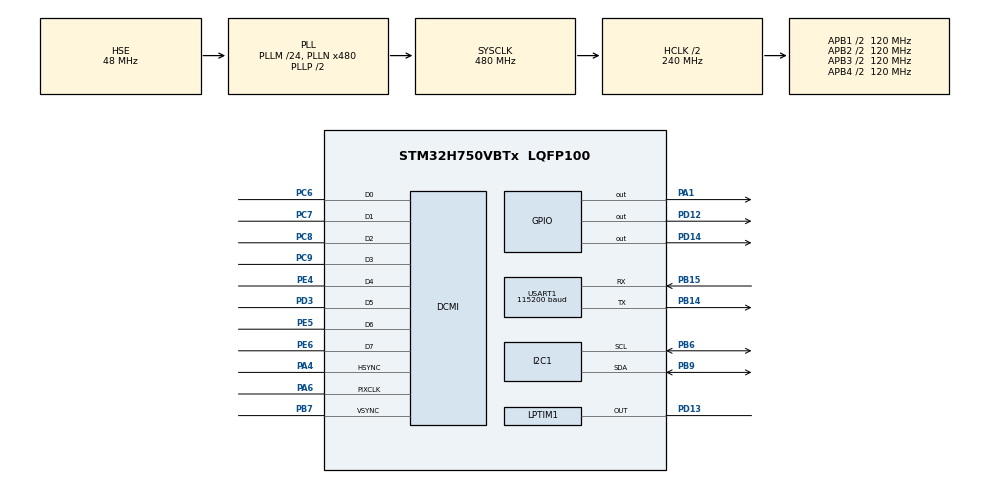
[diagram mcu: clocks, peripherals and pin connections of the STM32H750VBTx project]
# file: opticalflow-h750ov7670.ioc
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CORTEX_M7.default_mode_Activation=1
DCMI.PCKPolarity=DCMI_PCKPOLARITY_RISING
DCMI.VSPolarity=DCMI_VSPOLARITY_HIGH
Dma.DCMI.0.Direction=DMA_PERIPH_TO_MEMORY
Dma.DCMI.0.EventEnable=DISABLE
Dma.DCMI.0.FIFOMode=DMA_FIFOMODE_DISABLE
Dma.DCMI.0.Instance=DMA1_Stream0
Dma.DCMI.0.MemDataAlignment=DMA_MDATAALIGN_WORD
Dma.DCMI.0.MemInc=DMA_MINC_ENABLE
Dma.DCMI.0.Mode=DMA_NORMAL
Dma.DCMI.0.PeriphDataAlignment=DMA_PDATAALIGN_WORD
Dma.DCMI.0.PeriphInc=DMA_PINC_DISABLE
Dma.DCMI.0.Polarity=HAL_DMAMUX_REQ_GEN_RISING
Dma.DCMI.0.Priority=DMA_PRIORITY_LOW
Dma.DCMI.0.RequestNumber=1
Dma.DCMI.0.SignalID=NONE
Dma.DCMI.0.SyncEnable=DISABLE
Dma.DCMI.0.SyncPolarity=HAL_DMAMUX_SYNC_NO_EVENT
Dma.DCMI.0.SyncRequestNumber=1
Dma.DCMI.0.SyncSignalID=NONE
Dma.Request0=DCMI
I2C1.Timing=0x00000E14
Mcu.Family=STM32H7
Mcu.Name=STM32H750VBTx
Mcu.Package=LQFP100
NVIC.DCMI_IRQn=true\:0\:0\:false\:false\:true\:true\:true\:true
NVIC.DMA1_Stream0_IRQn=true\:0\:0\:false\:false\:true\:false\:true\:true
NVIC.PriorityGroup=NVIC_PRIORITYGROUP_4
NVIC.TIM6_DAC_IRQn=true\:1\:0\:true\:false\:true\:true\:true\:true
NVIC.TIM7_IRQn=true\:1\:0\:true\:false\:true\:true\:true\:true
NVIC.USART1_IRQn=true\:0\:0\:false\:false\:true\:true\:true\:true
PA1.Signal=GPIO_Output
PA4.GPIO_PuPd=GPIO_PULLDOWN
PA4.GPIO_Speed=GPIO_SPEED_FREQ_VERY_HIGH
PA4.Mode=Slave_8_bits_External_Synchro
PA4.Signal=DCMI_HSYNC
PA6.GPIO_PuPd=GPIO_PULLDOWN
PA6.GPIO_Speed=GPIO_SPEED_FREQ_VERY_HIGH
PA6.Mode=Slave_8_bits_External_Synchro
PA6.Signal=DCMI_PIXCLK
PB14.GPIO_Speed=GPIO_SPEED_FREQ_VERY_HIGH
PB14.Mode=Asynchronous
PB14.Signal=USART1_TX
PB15.GPIO_Speed=GPIO_SPEED_FREQ_VERY_HIGH
PB15.Mode=Asynchronous
PB15.Signal=USART1_RX
PB6.GPIO_Pu=GPIO_PULLUP
PB6.GPIO_Speed=GPIO_SPEED_FREQ_VERY_HIGH
PB6.Mode=I2C
PB6.Signal=I2C1_SCL
PB7.GPIO_PuPd=GPIO_PULLDOWN
PB7.GPIO_Speed=GPIO_SPEED_FREQ_VERY_HIGH
PB7.Mode=Slave_8_bits_External_Synchro
PB7.Signal=DCMI_VSYNC
PB9.GPIO_Pu=GPIO_PULLUP
PB9.GPIO_Speed=GPIO_SPEED_FREQ_VERY_HIGH
PB9.Mode=I2C
PB9.Signal=I2C1_SDA
PC6.GPIO_PuPd=GPIO_PULLDOWN
PC6.GPIO_Speed=GPIO_SPEED_FREQ_VERY_HIGH
PC6.Mode=Slave_8_bits_External_Synchro
PC6.Signal=DCMI_D0
PC7.GPIO_PuPd=GPIO_PULLDOWN
PC7.GPIO_Speed=GPIO_SPEED_FREQ_VERY_HIGH
PC7.Mode=Slave_8_bits_External_Synchro
PC7.Signal=DCMI_D1
PC8.GPIO_PuPd=GPIO_PULLDOWN
PC8.GPIO_Speed=GPIO_SPEED_FREQ_VERY_HIGH
PC8.Mode=Slave_8_bits_External_Synchro
PC8.Signal=DCMI_D2
PC9.GPIO_PuPd=GPIO_PULLDOWN
PC9.GPIO_Speed=GPIO_SPEED_FREQ_VERY_HIGH
PC9.Mode=Slave_8_bits_External_Synchro
PC9.Signal=DCMI_D3
PD12.Signal=GPIO_Output
PD13.GPIO_Speed=GPIO_SPEED_FREQ_VERY_HIGH
PD13.Mode=WaveformGeneration
PD13.Signal=LPTIM1_OUT
PD14.Signal=GPIO_Output
PD3.GPIO_PuPd=GPIO_PULLDOWN
PD3.GPIO_Speed=GPIO_SPEED_FREQ_VERY_HIGH
PD3.Mode=Slave_8_bits_External_Synchro
PD3.Signal=DCMI_D5
PE4.GPIO_PuPd=GPIO_PULLDOWN
PE4.GPIO_Speed=GPIO_SPEED_FREQ_VERY_HIGH
PE4.Mode=Slave_8_bits_External_Synchro
PE4.Signal=DCMI_D4
PE5.GPIO_PuPd=GPIO_PULLDOWN
PE5.GPIO_Speed=GPIO_SPEED_FREQ_VERY_HIGH
PE5.Mode=Slave_8_bits_External_Synchro
PE5.Signal=DCMI_D6
PE6.GPIO_PuPd=GPIO_PULLDOWN
PE6.GPIO_Speed=GPIO_SPEED_FREQ_VERY_HIGH
PE6.Mode=Slave_8_bits_External_Synchro
PE6.Signal=DCMI_D7
PH0-OSC_IN\ (PH0).Mode=HSE-External-Oscillator
PH0-OSC_IN\ (PH0).Signal=RCC_OSC_IN
PH1-OSC_OUT\ (PH1).Mode=HSE-External-Oscillator
PH1-OSC_OUT\ (PH1).Signal=RCC_OSC_OUT
ProjectManager.HeapSize=0x200
ProjectManager.StackSize=0x400
ProjectManager.TargetToolchain=STM32CubeIDE
RCC.ADCFreq_Value=50000000
RCC.APB1Freq_Value=120000000
RCC.APB2Freq_Value=120000000
RCC.APB3Freq_Value=120000000
RCC.APB4Freq_Value=120000000
RCC.CortexFreq_Value=480000000
RCC.D1PPRE=RCC_APB3_DIV2
RCC.D2PPRE1=RCC_APB1_DIV2
RCC.D2PPRE2=RCC_APB2_DIV2
RCC.D3PPRE=RCC_APB4_DIV2
RCC.DIVM1=24
RCC.DIVM2=48
RCC.DIVM3=48
RCC.DIVN1=480
RCC.DIVN2=200
RCC.DIVN3=4
RCC.DIVP2=4
RCC.DIVQ2=4
RCC.HCLKFreq_Value=240000000
RCC.HPRE=RCC_HCLK_DIV2
RCC.HSE_VALUE=48000000
RCC.I2C123CLockSelection=RCC_I2C123CLKSOURCE_CSI
RCC.LPTIM1CLockSelection=RCC_LPTIM1CLKSOURCE_PLL2
RCC.PLL2FRACN=0
RCC.PLL3FRACN=0
RCC.PLLFRACN=0
RCC.PLLSourceVirtual=RCC_PLLSOURCE_HSE
RCC.SYSCLKFreq_VALUE=480000000
RCC.SYSCLKSource=RCC_SYSCLKSOURCE_PLLCLK
RCC.USART16CLockSelection=RCC_USART16CLKSOURCE_CSI
RCC.USBFreq_Value=480000000
TIM6.Period=10000
TIM6.Prescaler=24000
TIM7.Period=2000
TIM7.Prescaler=24000
USART1.BaudRate=115200
USART1.VirtualMode-Asynchronous=VM_ASYNC
VP_LPTIM1_VS_LPTIM_counterModeInternalClock.Mode=Counts__internal_clock_event_00
VP_TIM6_VS_ClockSourceINT.Mode=Enable_Timer
VP_TIM7_VS_ClockSourceINT.Mode=Enable_Timer
board=custom

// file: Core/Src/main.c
/* USER CODE BEGIN Header */
/**
  ******************************************************************************
  * @file           : main.c
  * @brief          : Main program body
  ******************************************************************************
  * @attention
  *
  * Copyright (c) 2022 STMicroelectronics.
  * All rights reserved.
  *
  * This software is licensed under terms that can be found in the LICENSE file
  * in the root directory of this software component.
  * If no LICENSE file comes with this software, it is provided AS-IS.
  *
  ******************************************************************************
  */
/* USER CODE END Header */
#include "main.h"

/* USER CODE BEGIN Includes */

#include "OV7670.h"
#include "Coarse2FineFlowWrapper.h"

/* USER CODE END Includes */

DCMI_HandleTypeDef hdcmi;
DMA_HandleTypeDef hdma_dcmi;

I2C_HandleTypeDef hi2c1;

LPTIM_HandleTypeDef hlptim1;

TIM_HandleTypeDef htim6;
TIM_HandleTypeDef htim7;

UART_HandleTypeDef huart1;

void SystemClock_Config(void);
static void MPU_Config(void);
static void MX_GPIO_Init(void);
static void MX_DMA_Init(void);
static void MX_DCMI_Init(void);
static void MX_I2C1_Init(void);
static void MX_TIM6_Init(void);
static void MX_USART1_UART_Init(void);
static void MX_LPTIM1_Init(void);
static void MX_TIM7_Init(void);

/* USER CODE BEGIN 0 */

static void flash(uint8_t count) {
  for (int i = 0; i < count; i++) {
    HAL_GPIO_TogglePin(GPIOA, GPIO_PIN_1);
    HAL_Delay(50);
    HAL_GPIO_TogglePin(GPIOA, GPIO_PIN_1);
    HAL_Delay(50);
  }

  HAL_Delay(100);
}

Camera_settings OV7670_settings = {
    QQQVGA,     //Resolution
    YUV422,   //Format
    BW,   //Effect
    ON,     //AEC
    ON,     //AGC
    ON,     //AWB
    OFF,    //Color bar
    OFF,    //vertical flip
    OFF,    //Horizontal flip
    OFF,    //Night mode
    OFF,    //ASC
    ON,     //De-noise
    ON,     //Banding filter
    HISTOGRAM,  //AEC algorithm
    QUARTER_FPS,//Min. fps in night mode
    F_AUTO,   //Auto detect banding freq.
    256,    //Exposure - 2 bytes
    4,      //Gain  [0-7]=[1-128]
    160,    //Brightness - byte
    64,     //Contrast - byte
    80,     //Saturation - byte
    2,      //Sharpness - [0-31]
    0,      //De-noise strength - byte
    x16,    //Gain ceiling
    77,     //R channel gain - byte
    103,    //G channel gain - byte
    153     //B channel gain - byte
};
uint32_t g_image_data[144*352]; // Max resolution is CIF

#define CROP_HEIGHT 12
#define CROP_WIDTH 12
double g_crop_img0[CROP_HEIGHT*CROP_WIDTH];
double g_crop_img1[CROP_HEIGHT*CROP_WIDTH];
double g_vy[CROP_HEIGHT*CROP_WIDTH];
double g_vx[CROP_HEIGHT*CROP_WIDTH];
double g_warpI2[CROP_HEIGHT*CROP_WIDTH];
#include "Coarse2FineFlowWrapper.h"

/* USER CODE END 0 */

int main(void)
{

  /* MPU Configuration--------------------------------------------------------*/
  MPU_Config();

  /* MCU Configuration--------------------------------------------------------*/

  /* Reset of all peripherals, Initializes the Flash interface and the Systick. */
  HAL_Init();

  /* Configure the system clock */
  SystemClock_Config();

  /* Initialize all configured peripherals */
  MX_GPIO_Init();
  MX_DMA_Init();
  MX_DCMI_Init();
  MX_I2C1_Init();
  MX_TIM6_Init();
  MX_USART1_UART_Init();
  MX_LPTIM1_Init();
  MX_TIM7_Init();
  /* USER CODE BEGIN 2 */

//  static double g_img0[144];
//  static double g_img1[144];
//  static double g_v1[144];
//  static double g_v2[144];
//  static double g_warpI2[144];
//  Coarse2FineFlowWrapper(g_v1, g_v2, g_warpI2, g_img0, g_img1,
//    0.0012, 1.0, 4, 1, 1, 1, 1, 64, 64, 1);

  flash(5);

  OV7670_Power(DISABLE);
  OV7670_Init(&hdcmi, &hdma_dcmi, &hi2c1, &hlptim1);
  OV7670_PowerUp();
  OV7670_UpdateSettings(OV7670_settings);
  OV7670_SetFrameRate(XCLK_DIV(1), PLL_x4);
  HAL_Delay(10);
  OV7670_Start(CONTINUOUS, g_image_data);
  HAL_Delay(100);

  // 50hz timer
  HAL_TIM_Base_Start_IT(&htim6);

  // 5hz timer
  HAL_TIM_Base_Start_IT(&htim7);

  flash(5);

  /* USER CODE END 2 */

  /* Infinite loop */
  while (1)
  {

  }
}

void SystemClock_Config(void)
{
  RCC_OscInitTypeDef RCC_OscInitStruct = {0};
  RCC_ClkInitTypeDef RCC_ClkInitStruct = {0};

  /** Supply configuration update enable
  */
  HAL_PWREx_ConfigSupply(PWR_LDO_SUPPLY);

  /** Configure the main internal regulator output voltage
  */
  __HAL_PWR_VOLTAGESCALING_CONFIG(PWR_REGULATOR_VOLTAGE_SCALE0);

  while(!__HAL_PWR_GET_FLAG(PWR_FLAG_VOSRDY)) {}

  /** Macro to configure the PLL clock source
  */
  __HAL_RCC_PLL_PLLSOURCE_CONFIG(RCC_PLLSOURCE_HSE);

  /** Initializes the RCC Oscillators according to the specified parameters
  * in the RCC_OscInitTypeDef structure.
  */
  RCC_OscInitStruct.OscillatorType = RCC_OSCILLATORTYPE_CSI|RCC_OSCILLATORTYPE_HSE;
  RCC_OscInitStruct.HSEState = RCC_HSE_ON;
  RCC_OscInitStruct.CSIState = RCC_CSI_ON;
  RCC_OscInitStruct.CSICalibrationValue = RCC_CSICALIBRATION_DEFAULT;
  RCC_OscInitStruct.PLL.PLLState = RCC_PLL_ON;
  RCC_OscInitStruct.PLL.PLLSource = RCC_PLLSOURCE_HSE;
  RCC_OscInitStruct.PLL.PLLM = 24;
  RCC_OscInitStruct.PLL.PLLN = 480;
  RCC_OscInitStruct.PLL.PLLP = 2;
  RCC_OscInitStruct.PLL.PLLQ = 2;
  RCC_OscInitStruct.PLL.PLLR = 2;
  RCC_OscInitStruct.PLL.PLLRGE = RCC_PLL1VCIRANGE_1;
  RCC_OscInitStruct.PLL.PLLVCOSEL = RCC_PLL1VCOWIDE;
  RCC_OscInitStruct.PLL.PLLFRACN = 0;
  if (HAL_RCC_OscConfig(&RCC_OscInitStruct) != HAL_OK)
  {
    Error_Handler();
  }

  /** Initializes the CPU, AHB and APB buses clocks
  */
  RCC_ClkInitStruct.ClockType = RCC_CLOCKTYPE_HCLK|RCC_CLOCKTYPE_SYSCLK
                              |RCC_CLOCKTYPE_PCLK1|RCC_CLOCKTYPE_PCLK2
                              |RCC_CLOCKTYPE_D3PCLK1|RCC_CLOCKTYPE_D1PCLK1;
  RCC_ClkInitStruct.SYSCLKSource = RCC_SYSCLKSOURCE_PLLCLK;
  RCC_ClkInitStruct.SYSCLKDivider = RCC_SYSCLK_DIV1;
  RCC_ClkInitStruct.AHBCLKDivider = RCC_HCLK_DIV2;
  RCC_ClkInitStruct.APB3CLKDivider = RCC_APB3_DIV2;
  RCC_ClkInitStruct.APB1CLKDivider = RCC_APB1_DIV2;
  RCC_ClkInitStruct.APB2CLKDivider = RCC_APB2_DIV2;
  RCC_ClkInitStruct.APB4CLKDivider = RCC_APB4_DIV2;

  if (HAL_RCC_ClockConfig(&RCC_ClkInitStruct, FLASH_LATENCY_4) != HAL_OK)
  {
    Error_Handler();
  }
}

static void MX_DCMI_Init(void)
{

  hdcmi.Instance = DCMI;
  hdcmi.Init.SynchroMode = DCMI_SYNCHRO_HARDWARE;
  hdcmi.Init.PCKPolarity = DCMI_PCKPOLARITY_RISING;
  hdcmi.Init.VSPolarity = DCMI_VSPOLARITY_HIGH;
  hdcmi.Init.HSPolarity = DCMI_HSPOLARITY_LOW;
  hdcmi.Init.CaptureRate = DCMI_CR_ALL_FRAME;
  hdcmi.Init.ExtendedDataMode = DCMI_EXTEND_DATA_8B;
  hdcmi.Init.JPEGMode = DCMI_JPEG_DISABLE;
  hdcmi.Init.ByteSelectMode = DCMI_BSM_ALL;
  hdcmi.Init.ByteSelectStart = DCMI_OEBS_ODD;
  hdcmi.Init.LineSelectMode = DCMI_LSM_ALL;
  hdcmi.Init.LineSelectStart = DCMI_OELS_ODD;
  if (HAL_DCMI_Init(&hdcmi) != HAL_OK)
  {
    Error_Handler();
  }

}

static void MX_I2C1_Init(void)
{

  hi2c1.Instance = I2C1;
  hi2c1.Init.Timing = 0x00000E14;
  hi2c1.Init.OwnAddress1 = 0;
  hi2c1.Init.AddressingMode = I2C_ADDRESSINGMODE_7BIT;
  hi2c1.Init.DualAddressMode = I2C_DUALADDRESS_DISABLE;
  hi2c1.Init.OwnAddress2 = 0;
  hi2c1.Init.OwnAddress2Masks = I2C_OA2_NOMASK;
  hi2c1.Init.GeneralCallMode = I2C_GENERALCALL_DISABLE;
  hi2c1.Init.NoStretchMode = I2C_NOSTRETCH_DISABLE;
  if (HAL_I2C_Init(&hi2c1) != HAL_OK)
  {
    Error_Handler();
  }

  /** Configure Analogue filter
  */
  if (HAL_I2CEx_ConfigAnalogFilter(&hi2c1, I2C_ANALOGFILTER_ENABLE) != HAL_OK)
  {
    Error_Handler();
  }

  /** Configure Digital filter
  */
  if (HAL_I2CEx_ConfigDigitalFilter(&hi2c1, 0) != HAL_OK)
  {
    Error_Handler();
  }

}

static void MX_LPTIM1_Init(void)
{

  hlptim1.Instance = LPTIM1;
  hlptim1.Init.Clock.Source = LPTIM_CLOCKSOURCE_APBCLOCK_LPOSC;
  hlptim1.Init.Clock.Prescaler = LPTIM_PRESCALER_DIV1;
  hlptim1.Init.Trigger.Source = LPTIM_TRIGSOURCE_SOFTWARE;
  hlptim1.Init.OutputPolarity = LPTIM_OUTPUTPOLARITY_HIGH;
  hlptim1.Init.UpdateMode = LPTIM_UPDATE_IMMEDIATE;
  hlptim1.Init.CounterSource = LPTIM_COUNTERSOURCE_INTERNAL;
  hlptim1.Init.Input1Source = LPTIM_INPUT1SOURCE_GPIO;
  hlptim1.Init.Input2Source = LPTIM_INPUT2SOURCE_GPIO;
  if (HAL_LPTIM_Init(&hlptim1) != HAL_OK)
  {
    Error_Handler();
  }

}

static void MX_TIM6_Init(void)
{

  TIM_MasterConfigTypeDef sMasterConfig = {0};

  htim6.Instance = TIM6;
  htim6.Init.Prescaler = 24000;
  htim6.Init.CounterMode = TIM_COUNTERMODE_UP;
  htim6.Init.Period = 10000;
  htim6.Init.AutoReloadPreload = TIM_AUTORELOAD_PRELOAD_DISABLE;
  if (HAL_TIM_Base_Init(&htim6) != HAL_OK)
  {
    Error_Handler();
  }
  sMasterConfig.MasterOutputTrigger = TIM_TRGO_RESET;
  sMasterConfig.MasterSlaveMode = TIM_MASTERSLAVEMODE_DISABLE;
  if (HAL_TIMEx_MasterConfigSynchronization(&htim6, &sMasterConfig) != HAL_OK)
  {
    Error_Handler();
  }

}

static void MX_TIM7_Init(void)
{

  TIM_MasterConfigTypeDef sMasterConfig = {0};

  htim7.Instance = TIM7;
  htim7.Init.Prescaler = 24000;
  htim7.Init.CounterMode = TIM_COUNTERMODE_UP;
  htim7.Init.Period = 2000;
  htim7.Init.AutoReloadPreload = TIM_AUTORELOAD_PRELOAD_DISABLE;
  if (HAL_TIM_Base_Init(&htim7) != HAL_OK)
  {
    Error_Handler();
  }
  sMasterConfig.MasterOutputTrigger = TIM_TRGO_RESET;
  sMasterConfig.MasterSlaveMode = TIM_MASTERSLAVEMODE_DISABLE;
  if (HAL_TIMEx_MasterConfigSynchronization(&htim7, &sMasterConfig) != HAL_OK)
  {
    Error_Handler();
  }

}

static void MX_USART1_UART_Init(void)
{

  huart1.Instance = USART1;
  huart1.Init.BaudRate = 115200;
  huart1.Init.WordLength = UART_WORDLENGTH_8B;
  huart1.Init.StopBits = UART_STOPBITS_1;
  huart1.Init.Parity = UART_PARITY_NONE;
  huart1.Init.Mode = UART_MODE_TX_RX;
  huart1.Init.HwFlowCtl = UART_HWCONTROL_NONE;
  huart1.Init.OverSampling = UART_OVERSAMPLING_16;
  huart1.Init.OneBitSampling = UART_ONE_BIT_SAMPLE_DISABLE;
  huart1.Init.ClockPrescaler = UART_PRESCALER_DIV1;
  huart1.AdvancedInit.AdvFeatureInit = UART_ADVFEATURE_NO_INIT;
  if (HAL_UART_Init(&huart1) != HAL_OK)
  {
    Error_Handler();
  }
  if (HAL_UARTEx_SetTxFifoThreshold(&huart1, UART_TXFIFO_THRESHOLD_1_8) != HAL_OK)
  {
    Error_Handler();
  }
  if (HAL_UARTEx_SetRxFifoThreshold(&huart1, UART_RXFIFO_THRESHOLD_1_8) != HAL_OK)
  {
    Error_Handler();
  }
  if (HAL_UARTEx_DisableFifoMode(&huart1) != HAL_OK)
  {
    Error_Handler();
  }

}

static void MX_DMA_Init(void)
{

  /* DMA controller clock enable */
  __HAL_RCC_DMA1_CLK_ENABLE();

  /* DMA interrupt init */
  /* DMA1_Stream0_IRQn interrupt configuration */
  HAL_NVIC_SetPriority(DMA1_Stream0_IRQn, 0, 0);
  HAL_NVIC_EnableIRQ(DMA1_Stream0_IRQn);

}

static void MX_GPIO_Init(void)
{
  GPIO_InitTypeDef GPIO_InitStruct = {0};

  /* GPIO Ports Clock Enable */
  __HAL_RCC_GPIOE_CLK_ENABLE();
  __HAL_RCC_GPIOH_CLK_ENABLE();
  __HAL_RCC_GPIOA_CLK_ENABLE();
  __HAL_RCC_GPIOB_CLK_ENABLE();
  __HAL_RCC_GPIOD_CLK_ENABLE();
  __HAL_RCC_GPIOC_CLK_ENABLE();

  /*Configure GPIO pin Output Level */
  HAL_GPIO_WritePin(GPIOA, GPIO_PIN_1, GPIO_PIN_RESET);

  /*Configure GPIO pin Output Level */
  HAL_GPIO_WritePin(GPIOD, GPIO_PIN_12|GPIO_PIN_14, GPIO_PIN_RESET);

  /*Configure GPIO pin : PA1 */
  GPIO_InitStruct.Pin = GPIO_PIN_1;
  GPIO_InitStruct.Mode = GPIO_MODE_OUTPUT_PP;
  GPIO_InitStruct.Pull = GPIO_NOPULL;
  GPIO_InitStruct.Speed = GPIO_SPEED_FREQ_LOW;
  HAL_GPIO_Init(GPIOA, &GPIO_InitStruct);

  /*Configure GPIO pins : PD12 PD14 */
  GPIO_InitStruct.Pin = GPIO_PIN_12|GPIO_PIN_14;
  GPIO_InitStruct.Mode = GPIO_MODE_OUTPUT_PP;
  GPIO_InitStruct.Pull = GPIO_NOPULL;
  GPIO_InitStruct.Speed = GPIO_SPEED_FREQ_LOW;
  HAL_GPIO_Init(GPIOD, &GPIO_InitStruct);

}

/* MPU Configuration */

void MPU_Config(void)
{
  MPU_Region_InitTypeDef MPU_InitStruct = {0};

  /* Disables the MPU */
  HAL_MPU_Disable();

  /** Initializes and configures the Region and the memory to be protected
  */
  MPU_InitStruct.Enable = MPU_REGION_ENABLE;
  MPU_InitStruct.Number = MPU_REGION_NUMBER0;
  MPU_InitStruct.BaseAddress = 0x0;
  MPU_InitStruct.Size = MPU_REGION_SIZE_4GB;
  MPU_InitStruct.SubRegionDisable = 0x87;
  MPU_InitStruct.TypeExtField = MPU_TEX_LEVEL0;
  MPU_InitStruct.AccessPermission = MPU_REGION_NO_ACCESS;
  MPU_InitStruct.DisableExec = MPU_INSTRUCTION_ACCESS_DISABLE;
  MPU_InitStruct.IsShareable = MPU_ACCESS_SHAREABLE;
  MPU_InitStruct.IsCacheable = MPU_ACCESS_NOT_CACHEABLE;
  MPU_InitStruct.IsBufferable = MPU_ACCESS_NOT_BUFFERABLE;

  HAL_MPU_ConfigRegion(&MPU_InitStruct);
  /* Enables the MPU */
  HAL_MPU_Enable(MPU_PRIVILEGED_DEFAULT);

}

void Error_Handler(void)
{
  __disable_irq();
  while (1)
  {
  }
}
